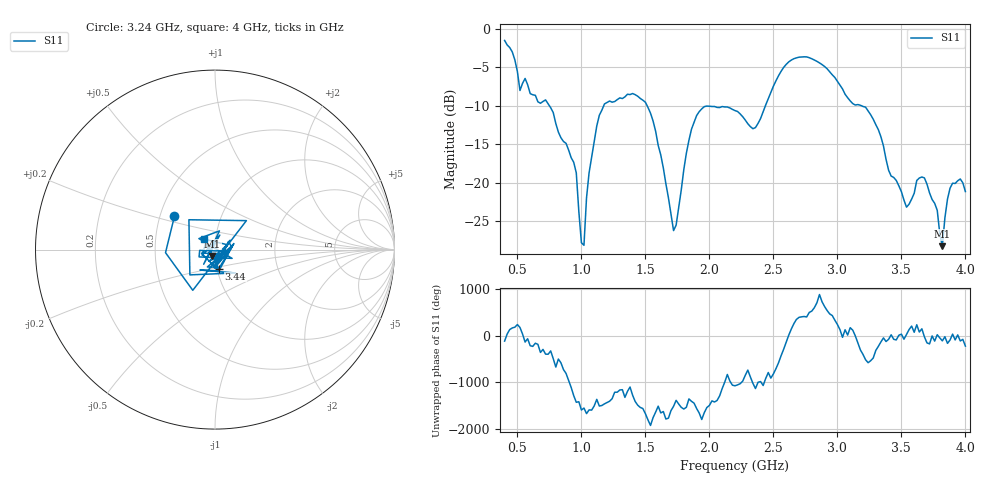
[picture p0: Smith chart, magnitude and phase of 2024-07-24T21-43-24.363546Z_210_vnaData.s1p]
!Created with skrf (http://scikit-rf.org).
# Hz S RI R 50.0
!freq ReS11 ImS11
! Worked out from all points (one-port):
!   181 points, 400 MHz to 4 GHz, reference 50 ohm
!   lowest |S11| = -28.3 dB at 3.82 GHz (marker M1), VSWR 1.08, Z = 48.5 - j3.47 ohm
!   |S11| at or under -10 dB: 749.8 MHz to 1.174 GHz (424.5 MHz wide, 44.1 % of centre); 1.514 GHz to 2.438 GHz (924.3 MHz wide, 46.8 % of centre); 3.188 GHz to end of sweep
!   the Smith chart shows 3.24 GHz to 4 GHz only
!   S11 on the Smith chart (normalised r, x): 3.24 GHz: 0.59, +0.24; 3.44 GHz: 1.02, -0.22; 4 GHz: 0.88, +0.11
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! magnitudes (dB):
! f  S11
! 400 MHz  -1.5
! 520 MHz  -8.0
! 720 MHz  -9.2
! 860 MHz  -14.7
! 960 MHz  -18.7
! 1 GHz  -27.8
! 1.02 GHz  -28.2
! 1.06 GHz  -18.7
! 1.14 GHz  -11.2
! 1.3 GHz  -9.0
! 1.5 GHz  -9.5
! 1.58 GHz  -13.3
! 1.72 GHz  -26.2
! 1.76 GHz  -23.2
! 1.9 GHz  -11.3
! 2.2 GHz  -10.6
! 2.36 GHz  -12.8
! 2.66 GHz  -3.9
! 2.9 GHz  -4.9
! 3.1 GHz  -9.4
! 3.24 GHz  -10.7
! 3.44 GHz  -19.3
! 3.56 GHz  -22.8
! 3.68 GHz  -19.4
! 3.78 GHz  -23.6
! 3.82 GHz  -28.3
! 3.88 GHz  -20.7
! 4 GHz  -21.2
